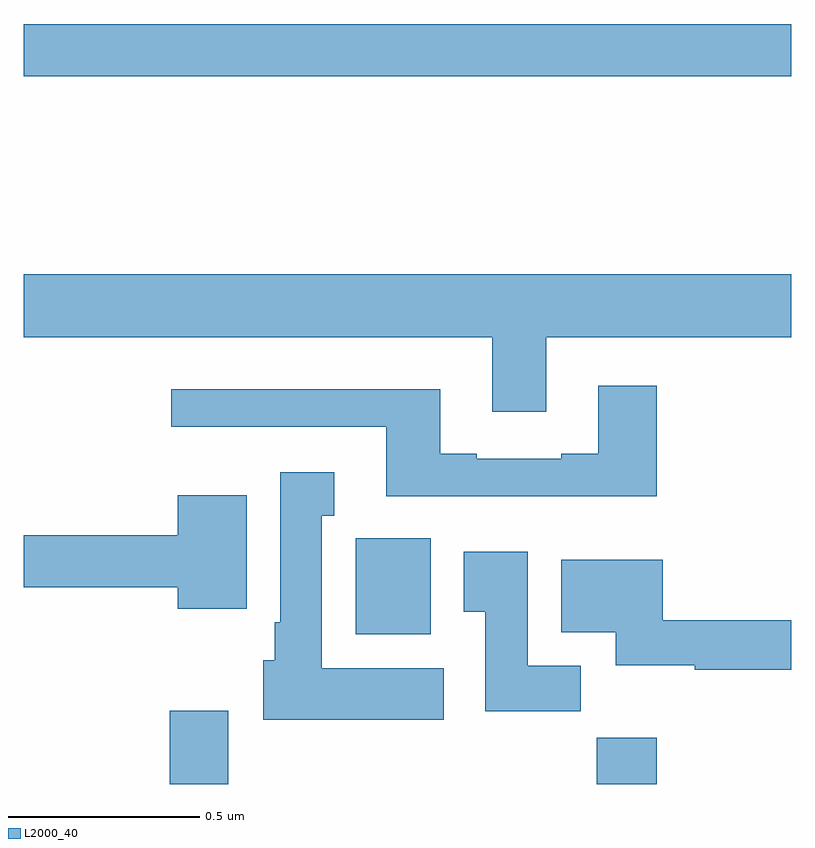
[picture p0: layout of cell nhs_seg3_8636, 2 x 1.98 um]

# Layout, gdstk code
import gdstk
lib = gdstk.Library(unit=1e-6, precision=1e-09)
def R(c, l, rs):  # rectangles x0, y0, x1, y1
    for r in rs: c.add(gdstk.rectangle(r[:2], r[2:], *l))
def P(c, l, *ps):  # polygons
    for p in ps: c.add(gdstk.Polygon(p, *l))
L2000_40 = (2000, 40)

nhs_seg3_8636 = lib.new_cell('nhs_seg3_8636')
R(nhs_seg3_8636, L2000_40, [(218.381,718.4,218.533,718.591), (219.493,718.4,219.65,718.52), (218.865,718.79,219.061,719.04), (218,720.244,220,720.38)])
P(nhs_seg3_8636, L2000_40, [(219.361,719.564),(220,719.564),(220,719.728),(218,719.728),(218,719.564),(219.221,719.564),(219.221,719.37),(219.361,719.37)],
  [(219.65,719.437),(219.497,719.437),(219.497,719.26),(219.401,719.26),(219.401,719.247),(219.181,719.247),(219.181,719.26),(219.085,719.26),(219.085,719.428),(218.385,719.428),(218.385,719.331),(218.945,719.331),(218.945,719.15),(219.65,719.15)],
  [(219.094,718.702),(218.776,718.702),(218.776,719.099),(218.809,719.099),(218.809,719.212),(218.669,719.212),(218.669,718.822),(218.654,718.822),(218.654,718.722),(218.624,718.722),(218.624,718.568),(219.094,718.568)],
  [(218.581,719.152),(218.402,719.152),(218.402,719.048),(218,719.048),(218,718.912),(218.402,718.912),(218.402,718.856),(218.581,718.856)],
  [(219.452,718.708),(219.313,718.708),(219.313,719.005),(219.146,719.005),(219.146,718.849),(219.203,718.849),(219.203,718.59),(219.452,718.59)],
  [(220,718.826),(219.665,718.826),(219.665,718.984),(219.401,718.984),(219.401,718.796),(219.542,718.796),(219.542,718.709),(219.748,718.709),(219.748,718.698),(220,718.698)])

lib.write_gds('nhs_seg3_8636.gds')
